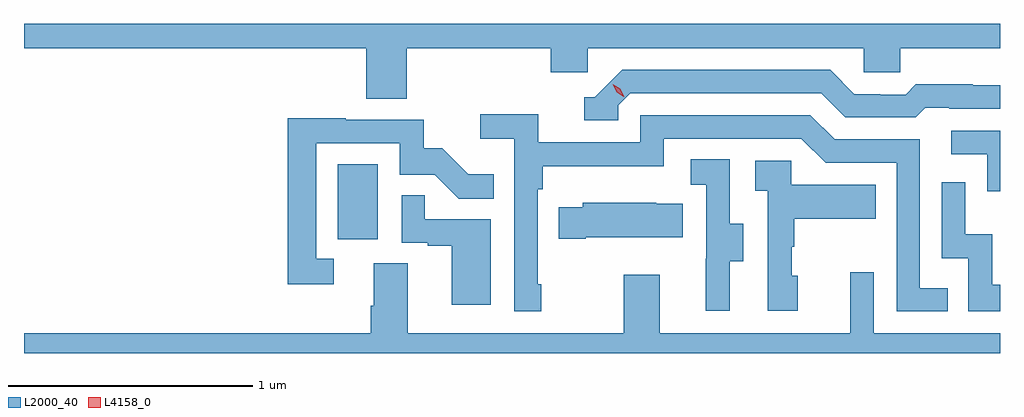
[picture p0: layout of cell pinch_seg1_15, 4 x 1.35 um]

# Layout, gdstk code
import gdstk
lib = gdstk.Library(unit=1e-6, precision=1e-09)
def R(c, l, rs):  # rectangles x0, y0, x1, y1
    for r in rs: c.add(gdstk.rectangle(r[:2], r[2:], *l))
def P(c, l, *ps):  # polygons
    for p in ps: c.add(gdstk.Polygon(p, *l))
L2000_40 = (2000, 40)
L4158_0 = (4158, 0)

pinch_seg1_15 = lib.new_cell('pinch_seg1_15')
R(pinch_seg1_15, L2000_40, [(1141.898,582.918,1142.062,583.225)])
P(pinch_seg1_15, L2000_40, [(1142.18,583.7),(1142.771,583.7),(1142.771,583.602),(1142.922,583.602),(1142.922,583.7),(1144.053,583.7),(1144.053,583.602),(1144.203,583.602),(1144.203,583.7),(1144.612,583.7),(1144.612,583.8),(1140.612,583.8),(1140.612,583.7),(1142.015,583.7),(1142.015,583.492),(1142.18,583.492)],
  [(1143.048,583.467),(1143.096,583.515),(1143.879,583.515),(1143.978,583.416),(1144.267,583.416),(1144.306,583.455),(1144.405,583.455),(1144.405,583.452),(1144.612,583.452),(1144.612,583.549),(1144.5,583.549),(1144.5,583.552),(1144.267,583.552),(1144.225,583.509),(1144.122,583.509),(1144.122,583.512),(1144.015,583.512),(1143.916,583.611),(1143.063,583.611),(1142.952,583.5),(1142.909,583.5),(1142.909,583.404),(1143.048,583.404)],
  [(1142.731,582.733),(1142.718,582.733),(1142.718,583.121),(1142.738,583.121),(1142.738,583.217),(1143.234,583.217),(1143.234,583.329),(1143.798,583.329),(1143.897,583.23),(1144.188,583.23),(1144.188,582.621),(1144.397,582.621),(1144.397,582.717),(1144.284,582.717),(1144.284,583.326),(1143.934,583.326),(1143.835,583.425),(1143.138,583.425),(1143.138,583.314),(1142.72,583.314),(1142.72,583.43),(1142.481,583.43),(1142.481,583.328),(1142.622,583.328),(1142.622,582.621),(1142.731,582.621)],
  [(1141.882,582.837),(1141.809,582.837),(1141.809,583.311),(1142.151,583.311),(1142.151,583.182),(1142.295,583.182),(1142.393,583.084),(1142.537,583.084),(1142.537,583.183),(1142.433,583.183),(1142.326,583.29),(1142.25,583.29),(1142.25,583.407),(1141.931,583.407),(1141.931,583.412),(1141.693,583.412),(1141.693,582.732),(1141.882,582.732)],
  [(1144.612,583.362),(1144.413,583.362),(1144.413,583.266),(1144.56,583.266),(1144.56,583.113),(1144.612,583.113)],
  [(1143.505,582.826),(1143.559,582.826),(1143.559,582.981),(1143.504,582.981),(1143.504,583.244),(1143.345,583.244),(1143.345,583.141),(1143.408,583.141),(1143.408,582.837),(1143.407,582.837),(1143.407,582.624),(1143.505,582.624)],
  [(1143.784,582.768),(1143.759,582.768),(1143.759,582.887),(1143.769,582.887),(1143.769,583.001),(1144.103,583.001),(1144.103,583.141),(1143.756,583.141),(1143.756,583.239),(1143.609,583.239),(1143.609,583.115),(1143.66,583.115),(1143.66,582.624),(1143.784,582.624)],
  [(1144.612,582.73),(1144.58,582.73),(1144.58,582.938),(1144.47,582.938),(1144.47,583.15),(1144.374,583.15),(1144.374,582.84),(1144.482,582.84),(1144.482,582.621),(1144.612,582.621)],
  [(1142.524,582.999),(1142.255,582.999),(1142.255,583.097),(1142.16,583.097),(1142.16,582.903),(1142.267,582.903),(1142.267,582.891),(1142.366,582.891),(1142.366,582.648),(1142.524,582.648)],
  [(1142.914,582.926),(1143.311,582.926),(1143.311,583.063),(1143.203,583.063),(1143.203,583.066),(1142.901,583.066),(1142.901,583.048),(1142.803,583.048),(1142.803,582.919),(1142.914,582.919)],
  [(1144.612,582.532),(1144.095,582.532),(1144.095,582.781),(1143.998,582.781),(1143.998,582.532),(1143.217,582.532),(1143.217,582.772),(1143.07,582.772),(1143.07,582.532),(1142.185,582.532),(1142.185,582.818),(1142.045,582.818),(1142.045,582.644),(1142.033,582.644),(1142.033,582.532),(1140.612,582.532),(1140.612,582.45),(1144.612,582.45)])
P(pinch_seg1_15, L4158_0, [(1143.071,583.501),(1143.041,583.52),(1143.025,583.553),(1143.025,583.553),(1143.025,583.553),(1143.056,583.534),(1143.072,583.501),(1143.072,583.501)])

lib.write_gds('pinch_seg1_15.gds')
